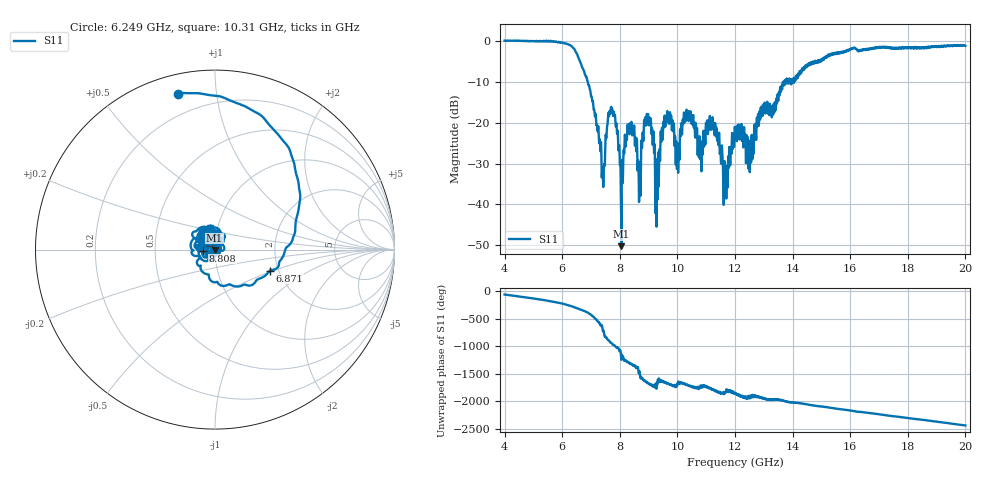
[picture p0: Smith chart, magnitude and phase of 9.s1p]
[Version] 2.0
! Rohde & Schwarz Vector Network Analyzer
! Rohde-Schwarz,ZNL20-2Port,1323001220200009,1.71.1.10-23.02.1.238
! Port Assignments:
! Nominal Port -> Actual Test Port
!  1 -> 1
! Created: GMT+2 2025-01-17 12:46:47
# Hz S RI R 50
[Number of Ports] 1
! freq[Hz]  S11[Re]  S11[Im]
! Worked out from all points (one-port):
!   16001 points, 4 GHz to 20 GHz, reference 50 ohm
!   lowest |S11| = -50.2 dB at 8.057 GHz (marker M1), VSWR 1.01, Z = 49.8 - j0.226 ohm
!   |S11| at or under -10 dB: 6.886 GHz to 13.7 GHz (6.812 GHz wide, 66.2 % of centre); 13.71194 GHz to 13.73981 GHz (27.87 MHz wide, 0.203 % of centre); 13.94133 GHz to 13.96402 GHz (22.7 MHz wide, 0.163 % of centre)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
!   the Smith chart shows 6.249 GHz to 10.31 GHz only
!   S11 on the Smith chart (normalised r, x): 6.249 GHz: 0.09, +0.78; 6.871 GHz: 1.80, -0.47; 8.808 GHz: 0.88, -0.01; 10.31 GHz: 0.92, +0.23
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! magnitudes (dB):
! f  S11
! 4 GHz  0.0
! 6 GHz  -0.5
! 6.249 GHz  -1.0
! 6.871 GHz  -9.7
! 7.402 GHz  -31.1
! 7.718 GHz  -16.7
! 7.863 GHz  -20.9
! 8 GHz  -29.9
! 8.057 GHz  -50.2
! 8.335 GHz  -22.7
! 8.523 GHz  -25.6
! 8.667 GHz  -39.2
! 8.808 GHz  -23.7
! 9.01 GHz  -20.5
! 9.293 GHz  -29.1
! 9.623 GHz  -20.0
! 10 GHz  -25.4
! 10.31 GHz  -18.1
! 10.78 GHz  -23.7
! 11.24 GHz  -21.6
! 11.67 GHz  -31.0
! 12 GHz  -21.5
! 12.54 GHz  -24.4
! 12.96 GHz  -18.3
! 14 GHz  -10.2
! 16 GHz  -2.0
! 18 GHz  -1.6
! 20 GHz  -1.2
